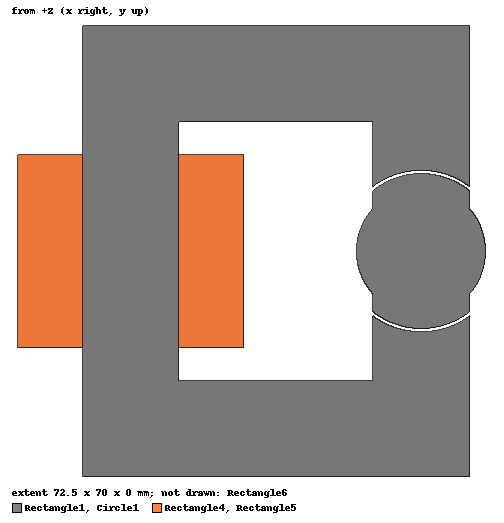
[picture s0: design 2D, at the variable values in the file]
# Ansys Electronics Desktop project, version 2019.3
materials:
  vacuum: permittivity=1
  iron: permeability=4000 conductivity=10300000
  copper: permeability=0.999991 conductivity=58000000

design 2D (Maxwell 2D, Magnetostatic, XY geometry, model units mm)
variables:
  teta = 0deg
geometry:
  Rectangle1 [iron] = rectangle(corner=(-30mm, -35mm, 0mm), x_size=60mm, y_size=70mm)
  Rectangle2 = rectangle(corner=(-15mm, -20mm, 0mm), x_size=30mm, y_size=40mm)
  Rectangle1.subtract(Rectangle2)
  Circle1 [iron] = circle(normal=Z, centre=(0mm, 0mm, 0mm), radius=12mm)
  Rectangle3 = rectangle(corner=(-7.5mm, -12mm, 0mm), x_size=15mm, y_size=24mm)
  Circle1.intersect(Rectangle3)
  Circle2 = circle(normal=Z, centre=(0mm, 0mm, 0mm), radius=10mm)
  Circle1.unite(Circle2)
  Circle3 = circle(normal=Z, centre=(0mm, 0mm, 0mm), radius=12.5mm)
  Circle3.move(22.5mm, 0mm, 0mm)
  Rectangle1.subtract(Circle3)
  Rectangle4 [copper] = rectangle(corner=(-40mm, -15mm, 0mm), x_size=10mm, y_size=30mm)
  Rectangle5 [copper] = rectangle(corner=(-40mm, -15mm, 0mm), x_size=10mm, y_size=30mm)
  Rectangle5.move(25mm, 0mm, 0mm)
  [Rectangle4, Rectangle5, Rectangle1].move(-22.5mm, 0mm, 0mm)
  Rectangle6 [vacuum] = rectangle(corner=(-90mm, 60mm, 0mm), x_size=130mm, y_size=-120mm)
  Circle1.rotate(axis=Z, angle=teta)
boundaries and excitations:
  VectorPotential1: Vector Potential Edges=Rectangle6.edge(all 4) Value=0
  Current1: Current Objects=Rectangle4 Current=750A IsPositive=true
  Current2: Current Objects=Rectangle5 Current=750A IsPositive=false
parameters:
  Torque1: Torque Coordinate_System=Global Is_Positive=true Objects=Circle1
  Matrix1: Matrix Current1: NumberOfTurns=250 ReturnPath=Current2
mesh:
  initial mesh: MeshMethod=AnsoftTAU
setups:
  Setup1: Magnetostatic MaximumPasses=10 MinimumPasses=2 MinimumConvergedPasses=1 PercentRefinement=30 PercentError=1 NonLinearResidual=0.0001
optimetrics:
  ParametricSetup1: Parametric Sim._Setups=[Setup1]
    sweep teta: LIN -180deg 180deg 1deg
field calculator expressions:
  ener = energy
  enerji = H_Vector | B_Vector | Dot | EnterVolume(AllObjects) | VolumeValue | Integrate
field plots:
  B_Vector2: B over Rectangle4, Rectangle5, Circle1, Rectangle1, Rectangle6 on Setup1 : LastAdaptive
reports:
  Torque Plot 1: Torque1.Torque/50 vs teta on Setup1 : LastAdaptive
  L Plot 1: Matrix1.L(Current1,Current1)/50 vs teta on Setup1 : LastAdaptive
  Calculator Expressions Plot 1: enerji/50 vs teta on Setup1 : LastAdaptive
